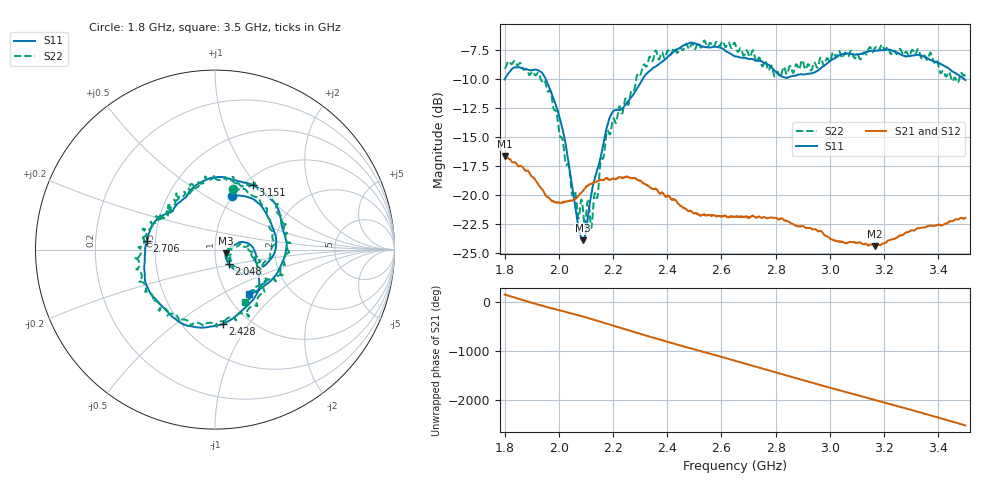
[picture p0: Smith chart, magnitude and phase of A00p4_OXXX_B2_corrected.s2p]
! Created with skrf 1.9.0 (http://scikit-rf.org).
# Hz S RI R 50.0
!freq ReS11 ImS11 ReS21 ImS21 ReS12 ImS12 ReS22 ImS22
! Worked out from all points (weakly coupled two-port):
!   1601 points, 1.8 GHz to 3.5 GHz, reference 50 ohm
!   highest |S21| = -16.65 dB at 1.8 GHz (marker M1); lowest = -24.4 dB at 3.165 GHz (marker M2)
!   lowest |S11| = -23.9 dB at 2.088 GHz (marker M3), VSWR 1.14, Z = 56.4 - j2.32 ohm
!   |S11| at or under -10 dB: start of sweep to 1.801272 GHz; 1.951 GHz to 2.31 GHz (359.2 MHz wide, 16.9 % of centre); 3.494342 GHz to end of sweep
!   |S22| runs from -22.8 to -6.7 dB; largest |S21 - S12| = 0.0026
!   S11 on the Smith chart (normalised r, x): 1.8 GHz: 1.00, +0.66; 2.048 GHz: 1.15, -0.19; 2.428 GHz: 0.76, -0.76; 2.706 GHz: 0.45, +0.05; 3.151 GHz: 1.10, +0.96; 3.5 GHz: 1.25, -0.69
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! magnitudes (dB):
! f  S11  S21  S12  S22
! 1.8 GHz  -10.1  -16.7  -16.6  -9.1
! 1.844 GHz  -9.0  -17.3  -17.4  -8.7
! 1.943 GHz  -9.7  -19.7  -19.7  -10.1
! 2.005 GHz  -13.5  -20.7  -20.6  -15.0
! 2.048 GHz  -19.0  -20.5  -20.4  -19.7
! 2.084 GHz  -23.7  -19.8  -19.7  -20.4
! 2.088 GHz  -23.9  -19.7  -19.7  -20.9
! 2.122 GHz  -19.6  -19.0  -19.0  -22.5
! 2.175 GHz  -14.3  -18.5  -18.6  -14.8
! 2.191 GHz  -13.2  -18.7  -18.7  -14.6
! 2.311 GHz  -10.0  -19.0  -18.9  -8.9
! 2.367 GHz  -8.8  -19.7  -19.7  -8.3
! 2.428 GHz  -7.6  -20.4  -20.4  -7.4
! 2.493 GHz  -6.9  -21.4  -21.4  -7.0
! 2.65 GHz  -8.1  -21.8  -21.8  -7.0
! 2.706 GHz  -8.3  -21.9  -21.9  -8.1
! 2.799 GHz  -9.4  -21.9  -21.9  -9.7
! 2.934 GHz  -9.5  -22.9  -22.9  -9.2
! 3.151 GHz  -7.6  -24.2  -24.3  -7.4
! 3.165 GHz  -7.6  -24.4  -24.3  -7.4
! 3.217 GHz  -7.5  -23.9  -23.9  -7.5
! 3.5 GHz  -10.1  -21.9  -21.9  -9.5
